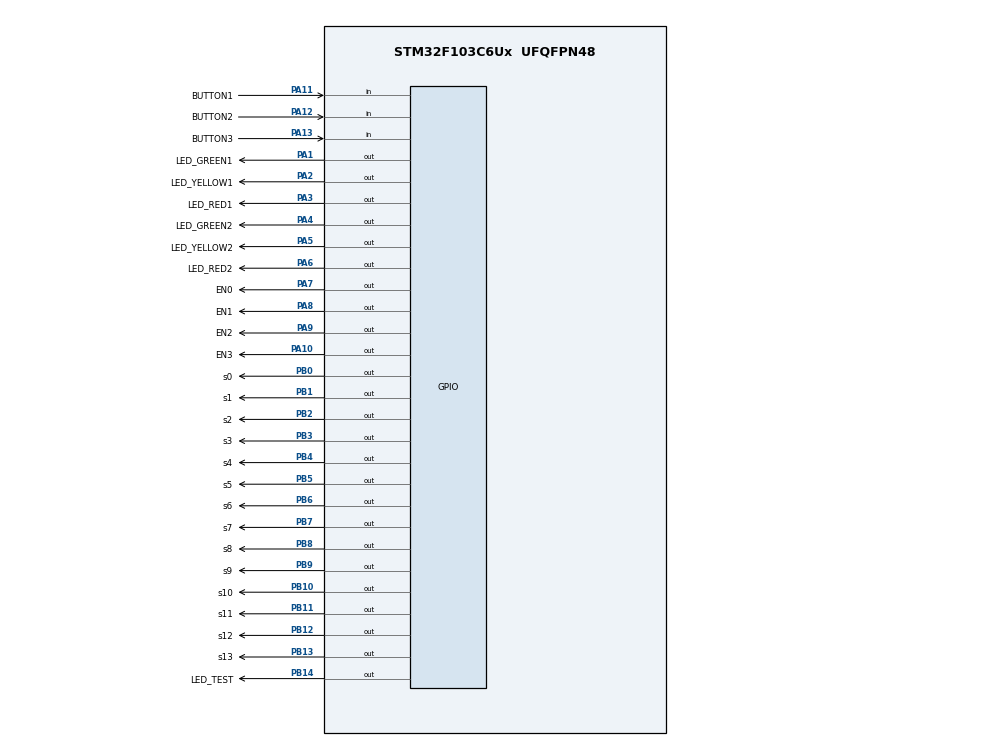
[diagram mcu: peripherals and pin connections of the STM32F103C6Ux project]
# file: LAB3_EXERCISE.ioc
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Mcu.Family=STM32F1
Mcu.Name=STM32F103C6Ux
Mcu.Package=UFQFPN48
NVIC.PriorityGroup=NVIC_PRIORITYGROUP_4
NVIC.TIM2_IRQn=true\:0\:0\:false\:false\:true\:true\:true
PA1.GPIO_Label=LED_GREEN1
PA1.Signal=GPIO_Output
PA10.GPIO_Label=EN3
PA10.Signal=GPIO_Output
PA11.GPIO_Label=BUTTON1
PA11.GPIO_PuPd=GPIO_PULLUP
PA11.Signal=GPIO_Input
PA12.GPIO_Label=BUTTON2
PA12.GPIO_PuPd=GPIO_PULLUP
PA12.Signal=GPIO_Input
PA13.GPIO_Label=BUTTON3
PA13.GPIO_PuPd=GPIO_PULLUP
PA13.Signal=GPIO_Input
PA2.GPIO_Label=LED_YELLOW1
PA2.Signal=GPIO_Output
PA3.GPIO_Label=LED_RED1
PA3.Signal=GPIO_Output
PA4.GPIO_Label=LED_GREEN2
PA4.Signal=GPIO_Output
PA5.GPIO_Label=LED_YELLOW2
PA5.Signal=GPIO_Output
PA6.GPIO_Label=LED_RED2
PA6.Signal=GPIO_Output
PA7.GPIO_Label=EN0
PA7.Signal=GPIO_Output
PA8.GPIO_Label=EN1
PA8.Signal=GPIO_Output
PA9.GPIO_Label=EN2
PA9.Signal=GPIO_Output
PB0.GPIO_Label=s0
PB0.Signal=GPIO_Output
PB1.GPIO_Label=s1
PB1.Signal=GPIO_Output
PB10.GPIO_Label=s10
PB10.Signal=GPIO_Output
PB11.GPIO_Label=s11
PB11.Signal=GPIO_Output
PB12.GPIO_Label=s12
PB12.Signal=GPIO_Output
PB13.GPIO_Label=s13
PB13.Signal=GPIO_Output
PB14.GPIO_Label=LED_TEST
PB14.Signal=GPIO_Output
PB2.GPIO_Label=s2
PB2.Signal=GPIO_Output
PB3.GPIO_Label=s3
PB3.Signal=GPIO_Output
PB4.GPIO_Label=s4
PB4.Signal=GPIO_Output
PB5.GPIO_Label=s5
PB5.Signal=GPIO_Output
PB6.GPIO_Label=s6
PB6.Signal=GPIO_Output
PB7.GPIO_Label=s7
PB7.Signal=GPIO_Output
PB8.GPIO_Label=s8
PB8.Signal=GPIO_Output
PB9.GPIO_Label=s9
PB9.Signal=GPIO_Output
ProjectManager.HeapSize=0x200
ProjectManager.StackSize=0x400
ProjectManager.TargetToolchain=STM32CubeIDE
RCC.APB1Freq_Value=8000000
RCC.APB2Freq_Value=8000000
TIM2.Period=9
TIM2.Prescaler=7999
VP_SYS_VS_ND.Mode=No_Debug
VP_TIM2_VS_ClockSourceINT.Mode=Internal
board=custom

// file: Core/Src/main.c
/* USER CODE BEGIN Header */
/**
  ******************************************************************************
  * @file           : main.c
  * @brief          : Main program body
  ******************************************************************************
  * @attention
  *
  * <h2><center>&copy; Copyright (c) 2023 STMicroelectronics.
  * All rights reserved.</center></h2>
  *
  * This software component is licensed by ST under BSD 3-Clause license,
  * the "License"; You may not use this file except in compliance with the
  * License. You may obtain a copy of the License at:
  *                        opensource.org/licenses/BSD-3-Clause
  *
  ******************************************************************************
  */
/* USER CODE END Header */
#include "main.h"

/* USER CODE BEGIN Includes */
#include "global.h"
#include "input_reading.h"
#include "fsm_automatic.h"
#include "software_timer.h"
#include "led_traffic.h"
#include "mode.h"
#include "fsm_7SEG.h"
#include "display7SEG.h"

/* USER CODE END Includes */

TIM_HandleTypeDef htim2;

void SystemClock_Config(void);
static void MX_GPIO_Init(void);
static void MX_TIM2_Init(void);

int main(void)
{

  /* MCU Configuration--------------------------------------------------------*/

  /* Reset of all peripherals, Initializes the Flash interface and the Systick. */
  HAL_Init();

  /* Configure the system clock */
  SystemClock_Config();

  /* Initialize all configured peripherals */
  MX_GPIO_Init();
  MX_TIM2_Init();
  /* USER CODE BEGIN 2 */
  HAL_TIM_Base_Start_IT(&htim2);

  /* USER CODE END 2 */

  /* Infinite loop */
  /* USER CODE BEGIN WHILE */
  setTimer0(1000);
  setTimer2(500);
  while (1)
  {
	  if (timer0_flag == 1) {
		  HAL_GPIO_TogglePin(LED_TEST_GPIO_Port, LED_TEST_Pin);
		  setTimer0(1000);
	  }
	  fsm_mode();
	  fsm_7SEG();
    /* USER CODE END WHILE */

  }
}

void SystemClock_Config(void)
{
  RCC_OscInitTypeDef RCC_OscInitStruct = {0};
  RCC_ClkInitTypeDef RCC_ClkInitStruct = {0};

  /** Initializes the RCC Oscillators according to the specified parameters
  * in the RCC_OscInitTypeDef structure.
  */
  RCC_OscInitStruct.OscillatorType = RCC_OSCILLATORTYPE_HSI;
  RCC_OscInitStruct.HSIState = RCC_HSI_ON;
  RCC_OscInitStruct.HSICalibrationValue = RCC_HSICALIBRATION_DEFAULT;
  RCC_OscInitStruct.PLL.PLLState = RCC_PLL_NONE;
  if (HAL_RCC_OscConfig(&RCC_OscInitStruct) != HAL_OK)
  {
    Error_Handler();
  }
  /** Initializes the CPU, AHB and APB buses clocks
  */
  RCC_ClkInitStruct.ClockType = RCC_CLOCKTYPE_HCLK|RCC_CLOCKTYPE_SYSCLK
                              |RCC_CLOCKTYPE_PCLK1|RCC_CLOCKTYPE_PCLK2;
  RCC_ClkInitStruct.SYSCLKSource = RCC_SYSCLKSOURCE_HSI;
  RCC_ClkInitStruct.AHBCLKDivider = RCC_SYSCLK_DIV1;
  RCC_ClkInitStruct.APB1CLKDivider = RCC_HCLK_DIV1;
  RCC_ClkInitStruct.APB2CLKDivider = RCC_HCLK_DIV1;

  if (HAL_RCC_ClockConfig(&RCC_ClkInitStruct, FLASH_LATENCY_0) != HAL_OK)
  {
    Error_Handler();
  }
}

static void MX_TIM2_Init(void)
{

  TIM_ClockConfigTypeDef sClockSourceConfig = {0};
  TIM_MasterConfigTypeDef sMasterConfig = {0};

  htim2.Instance = TIM2;
  htim2.Init.Prescaler = 7999;
  htim2.Init.CounterMode = TIM_COUNTERMODE_UP;
  htim2.Init.Period = 9;
  htim2.Init.ClockDivision = TIM_CLOCKDIVISION_DIV1;
  htim2.Init.AutoReloadPreload = TIM_AUTORELOAD_PRELOAD_DISABLE;
  if (HAL_TIM_Base_Init(&htim2) != HAL_OK)
  {
    Error_Handler();
  }
  sClockSourceConfig.ClockSource = TIM_CLOCKSOURCE_INTERNAL;
  if (HAL_TIM_ConfigClockSource(&htim2, &sClockSourceConfig) != HAL_OK)
  {
    Error_Handler();
  }
  sMasterConfig.MasterOutputTrigger = TIM_TRGO_RESET;
  sMasterConfig.MasterSlaveMode = TIM_MASTERSLAVEMODE_DISABLE;
  if (HAL_TIMEx_MasterConfigSynchronization(&htim2, &sMasterConfig) != HAL_OK)
  {
    Error_Handler();
  }

}

static void MX_GPIO_Init(void)
{
  GPIO_InitTypeDef GPIO_InitStruct = {0};

  /* GPIO Ports Clock Enable */
  __HAL_RCC_GPIOA_CLK_ENABLE();
  __HAL_RCC_GPIOB_CLK_ENABLE();

  /*Configure GPIO pin Output Level */
  HAL_GPIO_WritePin(GPIOA, LED_GREEN1_Pin|LED_YELLOW1_Pin|LED_RED1_Pin|LED_GREEN2_Pin
                          |LED_YELLOW2_Pin|LED_RED2_Pin|EN0_Pin|EN1_Pin
                          |EN2_Pin|EN3_Pin, GPIO_PIN_RESET);

  /*Configure GPIO pin Output Level */
  HAL_GPIO_WritePin(GPIOB, s0_Pin|s1_Pin|s2_Pin|s10_Pin
                          |s11_Pin|s12_Pin|s13_Pin|LED_TEST_Pin
                          |s3_Pin|s4_Pin|s5_Pin|s6_Pin
                          |s7_Pin|s8_Pin|s9_Pin, GPIO_PIN_RESET);

  /*Configure GPIO pins : LED_GREEN1_Pin LED_YELLOW1_Pin LED_RED1_Pin LED_GREEN2_Pin
                           LED_YELLOW2_Pin LED_RED2_Pin EN0_Pin EN1_Pin
                           EN2_Pin EN3_Pin */
  GPIO_InitStruct.Pin = LED_GREEN1_Pin|LED_YELLOW1_Pin|LED_RED1_Pin|LED_GREEN2_Pin
                          |LED_YELLOW2_Pin|LED_RED2_Pin|EN0_Pin|EN1_Pin
                          |EN2_Pin|EN3_Pin;
  GPIO_InitStruct.Mode = GPIO_MODE_OUTPUT_PP;
  GPIO_InitStruct.Pull = GPIO_NOPULL;
  GPIO_InitStruct.Speed = GPIO_SPEED_FREQ_LOW;
  HAL_GPIO_Init(GPIOA, &GPIO_InitStruct);

  /*Configure GPIO pins : s0_Pin s1_Pin s2_Pin s10_Pin
                           s11_Pin s12_Pin s13_Pin LED_TEST_Pin
                           s3_Pin s4_Pin s5_Pin s6_Pin
                           s7_Pin s8_Pin s9_Pin */
  GPIO_InitStruct.Pin = s0_Pin|s1_Pin|s2_Pin|s10_Pin
                          |s11_Pin|s12_Pin|s13_Pin|LED_TEST_Pin
                          |s3_Pin|s4_Pin|s5_Pin|s6_Pin
                          |s7_Pin|s8_Pin|s9_Pin;
  GPIO_InitStruct.Mode = GPIO_MODE_OUTPUT_PP;
  GPIO_InitStruct.Pull = GPIO_NOPULL;
  GPIO_InitStruct.Speed = GPIO_SPEED_FREQ_LOW;
  HAL_GPIO_Init(GPIOB, &GPIO_InitStruct);

  /*Configure GPIO pins : BUTTON1_Pin BUTTON2_Pin BUTTON3_Pin */
  GPIO_InitStruct.Pin = BUTTON1_Pin|BUTTON2_Pin|BUTTON3_Pin;
  GPIO_InitStruct.Mode = GPIO_MODE_INPUT;
  GPIO_InitStruct.Pull = GPIO_PULLUP;
  HAL_GPIO_Init(GPIOA, &GPIO_InitStruct);

}

/* USER CODE BEGIN 4 */
void HAL_TIM_PeriodElapsedCallback(TIM_HandleTypeDef *htim) {
	runTimer();
	button_reading();
}

/* USER CODE END 4 */

void Error_Handler(void)
{
  __disable_irq();
  while (1)
  {
  }
}

/************************ (C) COPYRIGHT STMicroelectronics *****END OF FILE****/
